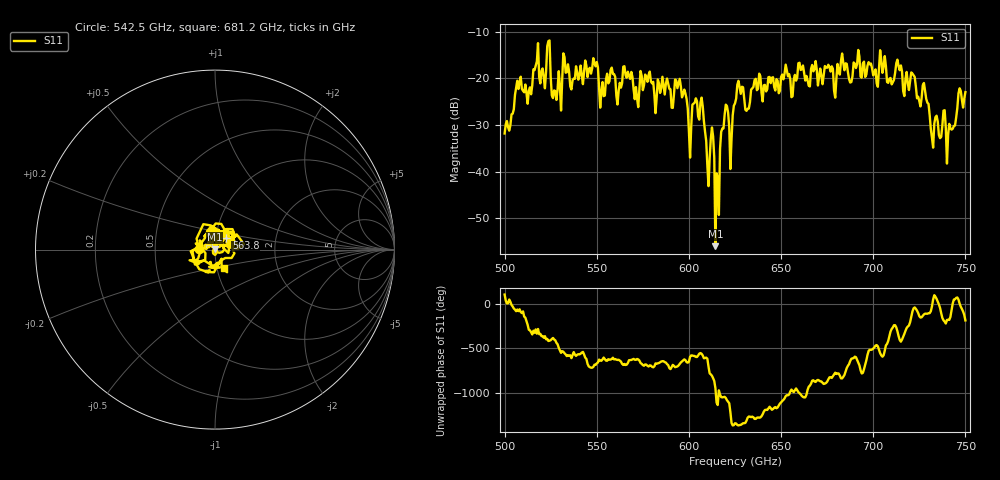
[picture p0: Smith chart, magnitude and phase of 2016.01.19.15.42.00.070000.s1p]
!Created with skrf (http://scikit-rf.org).
# GHz S RI R 50.0
!freq ReS11 ImS11
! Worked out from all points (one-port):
!   401 points, 500 GHz to 750 GHz, reference 50 ohm
!   lowest |S11| = -55.9 dB at 614.4 GHz (marker M1), VSWR 1.00, Z = 49.9 + j0.119 ohm
!   |S11| at or under -10 dB: start of sweep to end of sweep
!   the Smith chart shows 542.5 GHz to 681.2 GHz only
!   S11 on the Smith chart (normalised r, x): 542.5 GHz: 0.84, +0.00; 563.8 GHz: 1.12, +0.14; 681.2 GHz: 1.08, -0.23
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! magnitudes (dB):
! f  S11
! 500 GHz  -31.8
! 507.5 GHz  -22.3
! 513.8 GHz  -21.9
! 516.9 GHz  -17.3
! 520.6 GHz  -17.9
! 523.8 GHz  -12.0
! 526.9 GHz  -22.6
! 531.2 GHz  -20.2
! 542.5 GHz  -21.2
! 562.5 GHz  -20.9
! 563.8 GHz  -21.0
! 593.8 GHz  -22.1
! 600 GHz  -31.3
! 607.5 GHz  -26.0
! 610 GHz  -38.7
! 612.5 GHz  -30.5
! 614.4 GHz  -55.9
! 615.6 GHz  -41.3
! 619.4 GHz  -27.8
! 623.1 GHz  -32.9
! 625 GHz  -25.3
! 656.2 GHz  -23.8
! 681.2 GHz  -18.6
! 687.5 GHz  -20.9
! 705 GHz  -18.8
! 718.8 GHz  -21.0
! 741.2 GHz  -29.7
! 750 GHz  -22.9
